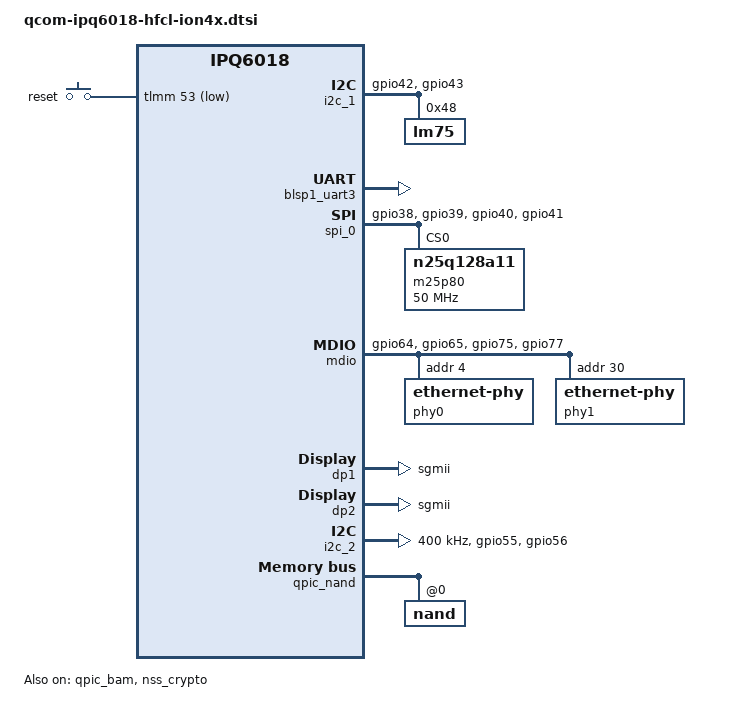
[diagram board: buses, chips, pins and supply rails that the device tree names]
// SPDX-License-Identifier: (GPL-2.0+ OR BSD-3-Clause)
/*
 * IPQ6018 CP01 board device tree source
 *
 * Copyright (c) 2019-2021 The Linux Foundation. All rights reserved.
 */

/dts-v1/;

#include "ipq6018.dtsi"
#include "ipq6018-cpr-regulator.dtsi"
#include <dt-bindings/input/input.h>

&tlmm {
};

/ {
	aliases {
		serial0 = &blsp1_uart3;
		serial1 = &blsp1_uart2;
		/*
		 * Aliases as required by u-boot
		 * to patch MAC addresses
		 */
		ethernet0 = "/soc/dp1";
		ethernet1 = "/soc/dp2";
	};

	chosen {
		stdout-path = "serial0:115200n8";
		bootargs-append = " swiotlb=1";
	};
};

&i2c_1 {
	pinctrl-0 = <&i2c_1_pins>;
	pinctrl-names = "default";
	status = "ok";

	lm75@48 {
		compatible = "lm75";
		reg = <0x48>;
		status = "okay";
	};
};

&blsp1_uart3 {
	pinctrl-0 = <&serial_3_pins>;
	pinctrl-names = "default";
	status = "ok";
};

&spi_0 {
	pinctrl-0 = <&spi_0_pins>;
	pinctrl-names = "default";
	cs-select = <0>;
	status = "ok";

	m25p80@0 {
		#address-cells = <1>;
		#size-cells = <1>;
		reg = <0>;
		compatible = "n25q128a11";
		linux,modalias = "m25p80", "n25q128a11";
		spi-max-frequency = <50000000>;
		use-default-sizes;
	};
};

&tlmm {
	pinctrl-0 = <&sd_ldo_pins &hfcl_gpio>;
	pinctrl-names = "default";

	sd_ldo_pins: sd_ldo_pins {
		mux {
			pins = "gpio66";
			function = "gpio";
			drive-strength = <2>;
			bias-disable;
			output-low;
		};
	};

	i2c_1_pins: i2c_1_pins {
		mux {
			pins = "gpio42", "gpio43";
			function = "blsp2_i2c";
			drive-strength = <8>;
			bias-pull-down;
		};
	};

       button_pins: button_pins {
		reset_button {
			pins = "gpio53";
			function = "gpio";
			drive-strength = <8>;
			bias-pull-up;
		};
	};

	spi_0_pins: spi-0-pins {
		pins = "gpio38", "gpio39", "gpio40", "gpio41";
		function = "blsp0_spi";
		drive-strength = <8>;
		bias-pull-down;
	};

	hfcl_gpio: hfcl_gpio {
		mux_0 {
			pins = "gpio25";
			function = "gpio";
			drive-strength = <8>;
			output-low;
		};
		mux_1 {
			pins = "gpio29";
			function = "gpio";
			drive-strength = <8>;
			bias-pull-down;
		};
		mux_2 {
			pins = "gpio33";
			function = "gpio";
			drive-strength = <8>;
			bias-pull-down;
		};
		mux_3 {
			pins = "gpio34";
			function = "gpio";
			drive-strength = <8>;
			bias-pull-down;
		};
		mux_4 {
			pins = "gpio35";
			function = "gpio";
			drive-strength = <8>;
			bias-pull-down;
		};
		mux_5 {
			pins = "gpio59";
			function = "gpio";
			drive-strength = <8>;
			bias-pull-down;
		};
		mux_6 {
			pins = "gpio67";
			function = "gpio";
			drive-strength = <8>;
			bias-pull-down;
		};
		mux_7 {
			pins = "gpio70";
			function = "gpio";
			drive-strength = <8>;
			bias-pull-down;
		};
		mux_8 {
			pins = "gpio79";
			function = "gpio";
			drive-strength = <8>;
			bias-pull-down;
		};
	};
	mdio_pins: mdio_pinmux {
		mux_0 {
			pins = "gpio64";
			function = "mdc";
			drive-strength = <8>;
			bias-pull-up;
		};
		mux_1 {
			pins = "gpio65";
			function = "mdio";
			drive-strength = <8>;
			bias-pull-up;
		};
		mux_2 {
			pins = "gpio75";
			function = "gpio";
			bias-pull-up;
		};
		mux_3 {
			pins = "gpio77";
			function = "gpio";
			bias-pull-up;
		};
	};

	uniphy_pins: uniphy_pinmux {
		mux {
			pins = "gpio63";
			function = "rx0";
			bias-disable;
		};
		sfp_tx {
			pins = "gpio48";
			function = "gpio";
			driver-strength = <8>;
			bias-pull-down;
			output-low;
		};
	};

	hsuart_pins: hsuart_pins {
		mux {
			pins = "gpio71", "gpio72", "gpio69", "gpio70";
			function = "blsp1_uart";
			drive-strength = <8>;
			bias-disable;
		};
	};

	i2c_2_pins: i2c_2_pins {
		mux {
			pins = "gpio55", "gpio56";
			function = "blsp4_i2c";
			drive-strength = <8>;
			bias-pull-down;
		};
	};
};

&soc {
	mdio: mdio@90000 {
		pinctrl-0 = <&mdio_pins>;
		pinctrl-names = "default";
		phy-reset-gpio = <&tlmm 77 0>;
		status = "ok";
		phy0: ethernet-phy@0 {
			reg = <4>;
		};
		phy1: ethernet-phy@1 {
			reg = <0x1e>;
		};
	};

	dp1 {
		device_type = "network";
		compatible = "qcom,nss-dp";
		qcom,id = <4>;
		reg = <0x3a001600 0x200>;
		qcom,mactype = <0>;
		local-mac-address = [000000000000];
		qcom,link-poll = <1>;
		qcom,phy-mdio-addr = <4>;
		phy-mode = "sgmii";
	};

	dp2 {
		device_type = "network";
		compatible = "qcom,nss-dp";
		qcom,id = <5>;
		reg = <0x3a003000 0x3fff>;
		qcom,mactype = <1>;
		local-mac-address = [000000000000];
		qcom,link-poll = <1>;
		qcom,phy-mdio-addr = <0x1e>;
		phy-mode = "sgmii";
	};

	ess-switch@3a000000 {
		pinctrl-0 = <&uniphy_pins>;
		pinctrl-names = "default";
		switch_cpu_bmp = <0x1>;  /* cpu port bitmap */
		switch_lan_bmp = <0x10>; /* lan port bitmap */
		switch_wan_bmp = <0x20>; /* wan port bitmap */
		switch_inner_bmp = <0xc0>; /*inner port bitmap*/
		switch_mac_mode = <0xf>; /* mac mode for uniphy instance0*/
		switch_mac_mode1 = <0x14>; /* mac mode for uniphy instance1*/
		switch_mac_mode2 = <0xff>; /* mac mode for uniphy instance2*/
		qcom,port_phyinfo {
			port@0 {
				port_id = <4>;
				phy_address = <4>;
			};
			port@1 {
				phy-i2c-mode;
				phy_i2c_address = <0x1e>;
				port_id = <0x05>;
				port_mac_sel = "GMAC_PORT";
				phy_address = <0x1e>;
			};
		};
	};

	nss-macsec0 {
		compatible = "qcom,nss-macsec";
		phy_addr = <0x18>;
		phy_access_mode = <0>;
		mdiobus = <&mdio>;
	};

	leds: leds {
		compatible = "gpio-leds";
		pinctrl-0 = <&leds_pins>;
		pinctrl-names = "default";
	};

	gpio_keys {
		compatible = "gpio-keys";
		pinctrl-0 = <&button_pins>;
		pinctrl-names = "default";

		reset {
			label = "reset";
			linux,code = <KEY_RESTART>;
			gpios = <&tlmm 53 GPIO_ACTIVE_LOW>;
			linux,input-type = <1>;
			debounce-interval = <60>;
		};
	};

	i2c_2: i2c@78b9000 {
		compatible = "qcom,i2c-qup-v2.2.1";
		#address-cells = <1>;
		#size-cells = <0>;
		reg = <0x78b9000 0x600>;
		interrupts = <GIC_SPI 299 IRQ_TYPE_LEVEL_HIGH>;
		clocks = <&gcc GCC_BLSP1_AHB_CLK>,
			 <&gcc GCC_BLSP1_QUP5_I2C_APPS_CLK>;
		clock-names = "iface", "core";
		clock-frequency  = <400000>;
		dmas = <&blsp_dma 21>, <&blsp_dma 20>;
		dma-names = "rx", "tx";
		pinctrl-0 = <&i2c_2_pins>;
		pinctrl-names = "default";
		status = "ok";
	};
};

&qpic_bam {
	status = "ok";
};

&qpic_nand {
	status = "ok";

	nand@0 {
		reg = <0>;
		#address-cells = <1>;
		#size-cells = <1>;

		nand-ecc-strength = <4>;
		nand-ecc-step-size = <512>;
		nand-bus-width = <8>;
	};
};

&nss_crypto {
	status = "ok";
};
